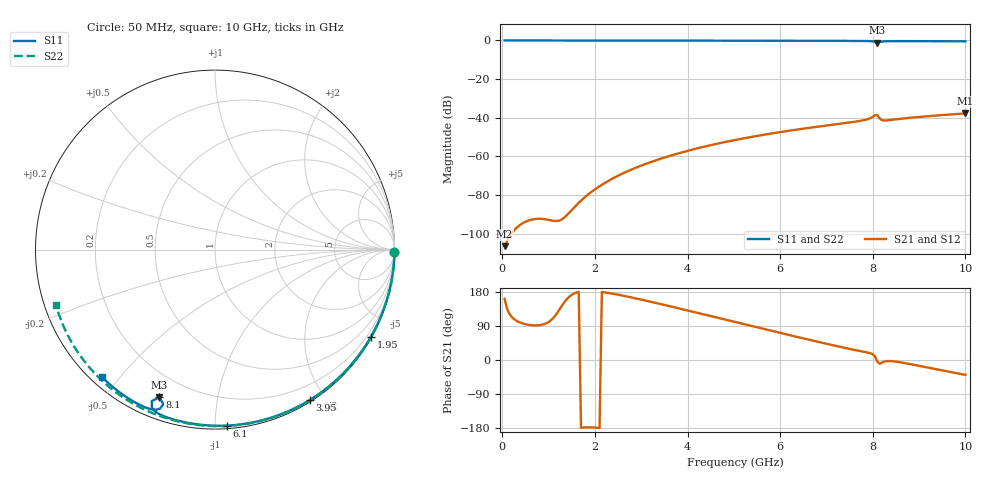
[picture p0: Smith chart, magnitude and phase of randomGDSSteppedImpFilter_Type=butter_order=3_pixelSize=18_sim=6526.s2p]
! freq	dB(S11)	phase(S11)	dB(S12)	phase(S12)
!  dB(S21)	phase(S21)	dB(S22)	phase(S22)
!S-par simulation data
#  GHz  S  DB  R 50
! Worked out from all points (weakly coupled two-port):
!   200 points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, 50 MHz to 10 GHz, reference 50 ohm
!   highest |S21| = -37.80 dB at 10 GHz (marker M1); lowest = -106.6 dB at 50 MHz (marker M2)
!   lowest |S11| = -1.1 dB at 8.1 GHz (marker M3), VSWR 15.58, Z = 4.74 - j34.4 ohm
!   |S11| at or under -10 dB: nowhere
!   |S22| runs from -0.6 to 0.0 dB; largest |S21 - S12| = 0
!   S11 on the Smith chart (normalised r, x): 50 MHz: open; 1.95 GHz: 0.03, -3.83; 3.95 GHz: 0.02, -1.81; 6.1 GHz: 0.02, -1.07; 8.1 GHz: 0.09, -0.69; 10 GHz: 0.03, -0.45
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0.05  -0.00 -0.8  -106.56 161.3  -106.56 161.3  -0.00 -0.9
0.85  -0.01 -12.9  -92.41 92.9  -92.41 92.9  -0.02 -15.5
1.75  -0.03 -26.3  -81.87 -178.2  -81.87 -178.2  -0.04 -31.5
1.85  -0.04 -27.8  -79.85 -177.6  -79.85 -177.6  -0.04 -33.3
1.95  -0.04 -29.3  -78.00 -177.9  -78.00 -177.9  -0.04 -35.0
2.25  -0.04 -33.7  -73.30 177.8  -73.30 177.8  -0.05 -40.3
2.6  -0.05 -38.7  -68.91 170.0  -68.91 170.0  -0.06 -46.3
3  -0.06 -44.5  -64.83 159.4  -64.83 159.4  -0.07 -53.1
3.4  -0.07 -50.1  -61.42 148.2  -61.42 148.2  -0.08 -59.8
3.95  -0.08 -57.8  -57.51 132.2  -57.51 132.2  -0.10 -68.9
5.05  -0.11 -72.6  -51.46 99.6  -51.46 99.6  -0.13 -86.4
6.1  -0.15 -86.1  -47.10 68.7  -47.10 68.7  -0.18 -102.5
6.7  -0.18 -93.7  -45.03 51.3  -45.03 51.3  -0.22 -111.5
7.8  -0.27 -107.8  -41.32 21.7  -41.32 21.7  -0.30 -127.7
8  -0.48 -111.8  -39.55 15.1  -39.55 15.1  -0.32 -130.6
8.05  -0.77 -112.7  -38.70 8.7  -38.70 8.7  -0.32 -131.4
8.1  -1.12 -110.6  -38.76 -4.3  -38.76 -4.3  -0.33 -132.1
8.15  -0.84 -108.5  -40.40 -10.0  -40.40 -10.0  -0.33 -132.9
8.2  -0.57 -109.0  -41.30 -6.9  -41.30 -6.9  -0.34 -133.6
8.35  -0.37 -111.8  -41.26 -2.7  -41.26 -2.7  -0.35 -135.8
9.2  -0.38 -122.6  -39.20 -20.4  -39.20 -20.4  -0.44 -148.5
10  -0.46 -131.8  -37.80 -39.3  -37.80 -39.3  -0.55 -160.9
